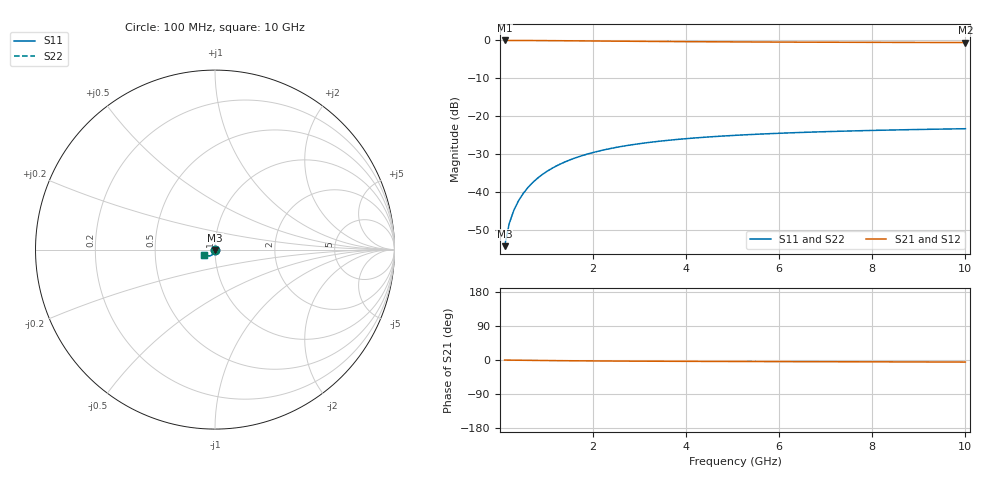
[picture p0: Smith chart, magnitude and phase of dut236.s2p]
! Touchstone file exported from HFSS 2024.1.0
!  File:  C:/UserFiles/LocalFiles/RDL_TSV_Batchsim/temp_TSV1_236_1779389156.aedt
!  Generated:  02:50:43 AM May 22, 2026
!  Design:  TSV1
!  Project:  temp_TSV1_236_1779389156
!  Setup:  Setup1
!  Solution:  Sweep
! Variables:
!  dtsv = 14.6um
!  hbump = 3um
!  htsv = 80.83um
!  lrdl = 252.1521522um
!  p = 40
!  p1 = 46.66um
!  t = 500um
!  trdl = 3um
!  wrdl = 24.89489489um
# GHz S MA R 50.000000
! Terminal data exported
! Port[1] = TSV22_T1
! Port[2] = TSV22_T2
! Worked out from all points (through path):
!   100 points, 100 MHz to 10 GHz, reference 50 ohm
!   highest |S21| = 0.00 dB at 100 MHz (marker M1); lowest = -0.6 dB at 10 GHz (marker M2)
!   lowest |S11| = -54.4 dB at 100 MHz (marker M3), VSWR 1.00, Z = 50 - j0.191 ohm
!   |S11| at or under -10 dB: start of sweep to end of sweep
!   |S22| runs from -54.4 to -23.3 dB; largest |S21 - S12| = 8.4e-15
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0.1  0.001912 -89.1  0.9999 -0.1  0.9999 -0.1  0.001912 -89.1
! Gamma 0 0 0 0
! Port Impedance 50 0 50 0
0.2  0.003824 -91.8  0.9997 -0.3  0.9997 -0.3  0.003824 -91.8
0.3  0.005735 -93.8  0.9994 -0.4  0.9994 -0.4  0.005735 -93.8
0.4  0.007634 -95.6  0.999 -0.6  0.999 -0.6  0.007634 -95.6
0.5  0.009515 -97.3  0.9985 -0.7  0.9985 -0.7  0.009515 -97.3
0.6  0.01137 -99.0  0.9979 -0.9  0.9979 -0.9  0.01137 -99.0
0.7  0.0132 -100.7  0.9973 -1.0  0.9973 -1.0  0.0132 -100.7
0.8  0.01499 -102.3  0.9965 -1.1  0.9965 -1.1  0.01499 -102.3
0.9  0.01674 -103.9  0.9957 -1.3  0.9957 -1.3  0.01674 -103.9
1.1  0.02013 -106.9  0.9939 -1.5  0.9939 -1.5  0.02013 -106.9
1.4  0.02486 -111.2  0.9909 -1.9  0.9909 -1.9  0.02486 -111.2
1.6  0.02778 -113.8  0.9887 -2.1  0.9887 -2.1  0.02778 -113.9
1.8  0.03051 -116.4  0.9864 -2.2  0.9864 -2.2  0.03051 -116.4
2.1  0.03425 -119.9  0.983 -2.5  0.983 -2.5  0.03425 -119.9
2.5  0.03863 -124.0  0.9786 -2.8  0.9786 -2.8  0.03863 -124.0
2.9  0.04241 -127.7  0.9744 -3.0  0.9744 -3.0  0.04241 -127.7
3.4  0.04641 -131.6  0.9696 -3.3  0.9696 -3.3  0.04641 -131.6
4.2  0.05152 -136.8  0.9629 -3.6  0.9629 -3.6  0.05152 -136.8
5.1  0.05593 -141.4  0.9568 -4.0  0.9568 -4.0  0.05593 -141.4
6.7  0.06151 -147.6  0.9487 -4.5  0.9487 -4.5  0.06151 -147.6
8.4  0.06551 -152.2  0.9427 -5.0  0.9427 -5.0  0.06551 -152.2
10  0.06816 -155.6  0.9385 -5.4  0.9385 -5.4  0.06816 -155.6
